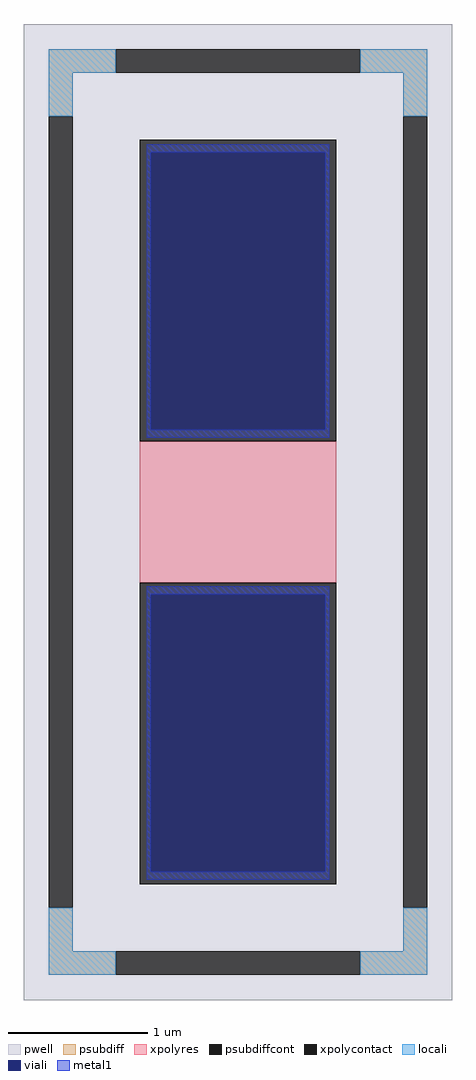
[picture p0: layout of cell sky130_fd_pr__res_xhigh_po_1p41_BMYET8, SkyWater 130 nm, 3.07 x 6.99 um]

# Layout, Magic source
magic
tech sky130A
magscale 1 2
<< pwell >>
rect -307 -699 307 699
<< psubdiff >>
rect -271 629 -175 663
rect 175 629 271 663
rect -271 567 -237 629
rect 237 567 271 629
rect -271 -629 -237 -567
rect 237 -629 271 -567
rect -271 -663 -175 -629
rect 175 -663 271 -629
<< psubdiffcont >>
rect -175 629 175 663
rect -271 -567 -237 567
rect 237 -567 271 567
rect -175 -663 175 -629
<< xpolycontact >>
rect -141 101 141 533
rect -141 -533 141 -101
<< xpolyres >>
rect -141 -101 141 101
<< locali >>
rect -271 629 -175 663
rect 175 629 271 663
rect -271 567 -237 629
rect 237 567 271 629
rect -271 -629 -237 -567
rect 237 -629 271 -567
rect -271 -663 -175 -629
rect 175 -663 271 -629
<< viali >>
rect -125 118 125 515
rect -125 -515 125 -118
<< metal1 >>
rect -131 515 131 527
rect -131 118 -125 515
rect 125 118 131 515
rect -131 106 131 118
rect -131 -118 131 -106
rect -131 -515 -125 -118
rect 125 -515 131 -118
rect -131 -527 131 -515
<< properties >>
string FIXED_BBOX -254 -646 254 646
string gencell sky130_fd_pr__res_xhigh_po_1p41
string library sky130
string parameters w 1.410 l 1.169 m 1 nx 1 wmin 1.410 lmin 0.50 rho 2000 val 1.925k dummy 0 dw 0.0 term 188.2 sterm 0.0 caplen 0 wmax 1.410 guard 1 glc 1 grc 1 gtc 1 gbc 1 compatible {sky130_fd_pr__res_xhigh_po_0p35  sky130_fd_pr__res_xhigh_po_0p69 sky130_fd_pr__res_xhigh_po_1p41  sky130_fd_pr__res_xhigh_po_2p85 sky130_fd_pr__res_xhigh_po_5p73} snake 0 full_metal 1 n_guard 0 hv_guard 0 vias 1 viagb 0 viagt 0 viagl 0 viagr 0
<< end >>
